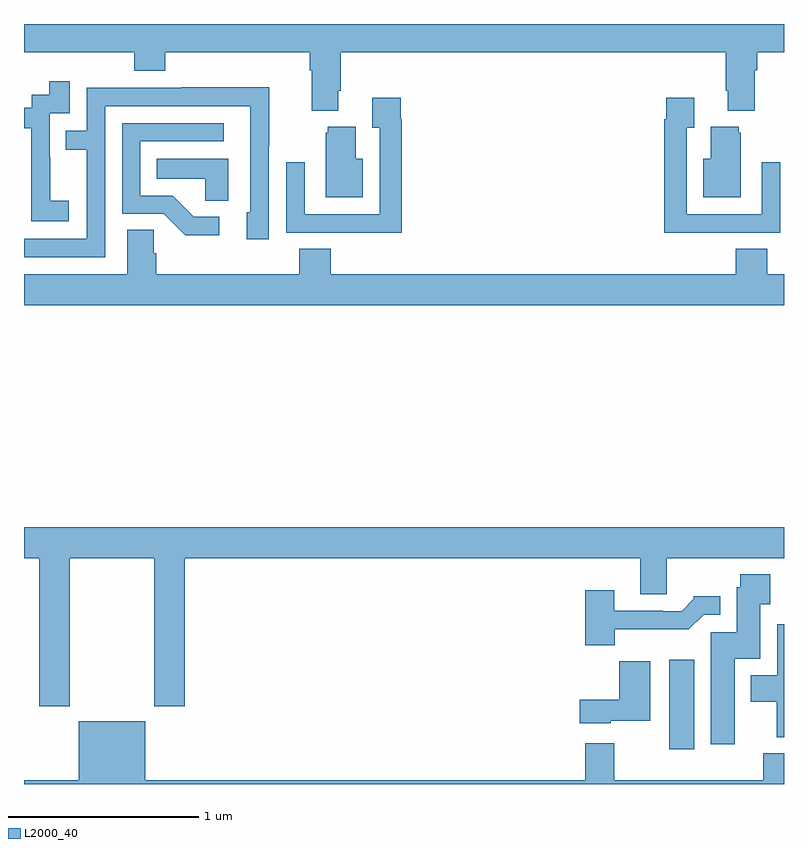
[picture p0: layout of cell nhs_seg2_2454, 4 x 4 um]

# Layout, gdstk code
import gdstk
lib = gdstk.Library(unit=1e-6, precision=1e-09)
def R(c, l, rs):  # rectangles x0, y0, x1, y1
    for r in rs: c.add(gdstk.rectangle(r[:2], r[2:], *l))
def P(c, l, *ps):  # polygons
    for p in ps: c.add(gdstk.Polygon(p, *l))
L2000_40 = (2000, 40)

nhs_seg2_2454 = lib.new_cell('nhs_seg2_2454')
R(nhs_seg2_2454, L2000_40, [(242.396,627.984,242.527,628.453)])
P(nhs_seg2_2454, L2000_40, [(240.655,631.45),(240.668,631.45),(240.668,631.652),(242.693,631.652),(242.693,631.45),(242.705,631.45),(242.705,631.343),(242.845,631.343),(242.845,631.556),(242.858,631.556),(242.858,631.652),(243,631.652),(243,631.8),(239,631.8),(239,631.652),(239.579,631.652),(239.579,631.553),(239.744,631.553),(239.744,631.652),(240.503,631.652),(240.503,631.556),(240.515,631.556),(240.515,631.343),(240.655,631.343)],
  [(239.236,630.871),(239.138,630.871),(239.138,631.1),(239.136,631.1),(239.136,631.329),(239.241,631.329),(239.241,631.498),(239.133,631.498),(239.133,631.428),(239.04,631.428),(239.04,631.359),(239,631.359),(239,631.251),(239.039,631.251),(239.039,630.967),(239.038,630.967),(239.038,630.761),(239.236,630.761)],
  [(239.427,631.368),(240.192,631.368),(240.192,630.81),(240.173,630.81),(240.173,630.666),(240.288,630.666),(240.288,631.159),(240.291,631.159),(240.291,631.466),(239.827,631.466),(239.827,631.464),(239.331,631.464),(239.331,631.239),(239.221,631.239),(239.221,631.138),(239.331,631.138),(239.331,630.669),(239,630.669),(239,630.573),(239.427,630.573)],
  [(240.989,631.298),(240.982,631.298),(240.982,631.411),(240.833,631.411),(240.833,631.255),(240.873,631.255),(240.873,630.798),(240.477,630.798),(240.477,631.072),(240.381,631.072),(240.381,630.702),(240.697,630.702),(240.697,630.701),(240.989,630.701)],
  [(242.663,630.702),(242.979,630.702),(242.979,631.072),(242.883,631.072),(242.883,630.798),(242.487,630.798),(242.487,631.255),(242.527,631.255),(242.527,631.411),(242.379,631.411),(242.379,631.298),(242.371,631.298),(242.371,630.701),(242.663,630.701)],
  [(240.028,630.786),(239.893,630.786),(239.782,630.897),(239.613,630.897),(239.613,631.182),(240.052,631.182),(240.052,631.278),(239.517,631.278),(239.517,630.801),(239.736,630.801),(239.849,630.689),(240.028,630.689)],
  [(240.784,631.09),(240.745,631.09),(240.745,631.258),(240.599,631.258),(240.599,631.227),(240.587,631.227),(240.587,630.887),(240.784,630.887)],
  [(242.773,631.227),(242.762,631.227),(242.762,631.258),(242.615,631.258),(242.615,631.09),(242.576,631.09),(242.576,630.887),(242.773,630.887)],
  [(240.076,631.09),(239.698,631.09),(239.698,630.986),(239.955,630.986),(239.955,630.871),(240.076,630.871)],
  [(243,630.484),(242.912,630.484),(242.912,630.617),(242.747,630.617),(242.747,630.484),(240.614,630.484),(240.614,630.617),(240.449,630.617),(240.449,630.484),(239.696,630.484),(239.696,630.593),(239.682,630.593),(239.682,630.716),(239.543,630.716),(239.543,630.484),(239,630.484),(239,630.32),(243,630.32)],
  [(239.241,628.988),(239.686,628.988),(239.686,628.209),(239.846,628.209),(239.846,628.988),(242.243,628.988),(242.243,628.798),(242.383,628.798),(242.383,628.988),(243,628.988),(243,629.152),(239,629.152),(239,628.988),(239.081,628.988),(239.081,628.209),(239.241,628.209)],
  [(242.74,628.46),(242.875,628.46),(242.875,628.747),(242.927,628.747),(242.927,628.903),(242.77,628.903),(242.77,628.836),(242.75,628.836),(242.75,628.599),(242.615,628.599),(242.615,628.008),(242.74,628.008)],
  [(242.11,628.614),(242.499,628.614),(242.577,628.692),(242.665,628.692),(242.665,628.789),(242.526,628.789),(242.526,628.774),(242.462,628.71),(242.363,628.71),(242.363,628.713),(242.107,628.713),(242.107,628.819),(241.955,628.819),(241.955,628.529),(242.11,628.529)],
  [(243,628.642),(242.964,628.642),(242.964,628.372),(242.825,628.372),(242.825,628.232),(242.962,628.232),(242.962,628.046),(243,628.046)],
  [(242.088,628.133),(242.296,628.133),(242.296,628.447),(242.134,628.447),(242.134,628.243),(241.926,628.243),(241.926,628.121),(242.088,628.121)],
  [(242.107,628.015),(241.955,628.015),(241.955,627.82),(239.638,627.82),(239.638,628.129),(239.288,628.129),(239.288,627.82),(239,627.82),(239,627.8),(243,627.8),(243,627.961),(242.891,627.961),(242.891,627.82),(242.107,627.82)])

lib.write_gds('nhs_seg2_2454.gds')
